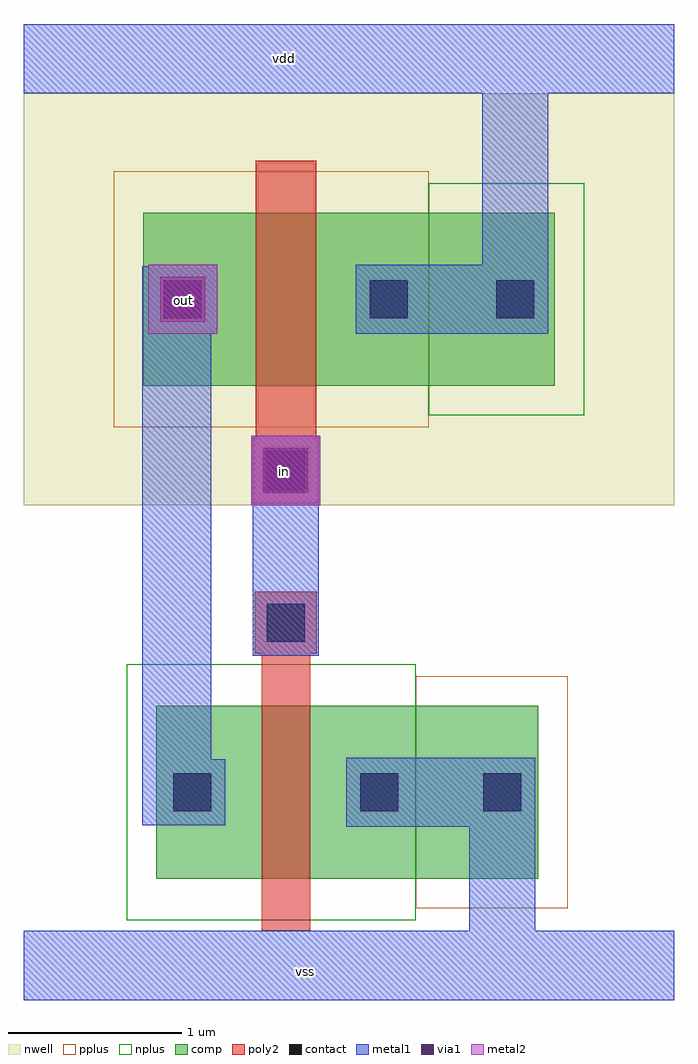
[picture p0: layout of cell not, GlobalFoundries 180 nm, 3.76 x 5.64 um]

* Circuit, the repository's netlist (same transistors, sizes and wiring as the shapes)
* Extracted by KLayout with GF180MCU LVS runset on : 27/08/2025 16:44

.SUBCKT not
M$1 vdd out in vdd pfet_03v3 L=0.35U W=1U AS=0.65P AD=0.65P PS=3.3U PD=3.3U
M$2 vss out in vss nfet_03v3 L=0.28U W=1U AS=0.61P AD=0.61P PS=3.22U PD=3.22U
.ENDS not

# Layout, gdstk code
import gdstk
lib = gdstk.Library(unit=1e-6, precision=5e-09)
def R(c, l, rs):  # rectangles x0, y0, x1, y1
    for r in rs: c.add(gdstk.rectangle(r[:2], r[2:], *l))
def P(c, l, *ps):  # polygons
    for p in ps: c.add(gdstk.Polygon(p, *l))
nwell = (21, 0)
comp = (22, 0)
poly2 = (30, 0)
pplus = (31, 0)
nplus = (32, 0)
contact = (33, 0)
metal1 = (34, 0)
via1 = (35, 0)
metal2 = (36, 0)

pfet = lib.new_cell('pfet')
R(pfet, nwell, [(-1.15,-0.69,2.61,1.69)])
R(pfet, comp, [(-0.46,0,0,1), (0,0,0.73,1), (0.73,0,1.19,1), (1.19,0,1.92,1)])
R(pfet, poly2, [(0.175,-0.68,0.555,-0.3), (0.19,-0.3,0.54,1.3)])
R(pfet, pplus, [(-0.63,-0.24,1.19,1.24)])
R(pfet, nplus, [(1.19,-0.17,2.09,1.17)])
R(pfet, contact, [(0.255,-0.6,0.475,-0.38), (-0.34,0.39,-0.12,0.61), (0.85,0.39,1.07,0.61), (1.58,0.39,1.8,0.61)])
R(pfet, metal1, [(0.175,-0.68,0.555,-0.3), (-0.42,0.31,-0.04,0.69), (0.77,0.31,1.15,0.69), (1.5,0.31,1.88,0.69)])

nfet = lib.new_cell('nfet')
R(nfet, comp, [(-0.42,0,0,1), (0,0,0.66,1), (0.66,0,1.08,1), (1.08,0,1.79,1)])
R(nfet, poly2, [(0.19,-0.3,0.47,1.3), (0.15,1.3,0.51,1.66)])
R(nfet, pplus, [(1.08,-0.17,1.96,1.17)])
R(nfet, nplus, [(-0.59,-0.24,1.08,1.24)])
R(nfet, contact, [(-0.32,0.39,-0.1,0.61), (0.76,0.39,0.98,0.61), (1.47,0.39,1.69,0.61), (0.22,1.37,0.44,1.59)])
R(nfet, metal1, [(-0.4,0.31,-0.02,0.69), (0.68,0.31,1.06,0.69), (1.39,0.31,1.77,0.69), (0.14,1.29,0.52,1.67)])

via_dev = lib.new_cell('via_dev')

via_dev_1 = lib.new_cell('via_dev$1')
R(via_dev_1, metal1, [(0,0,0.4,0.4)])
R(via_dev_1, via1, [(0.07,0.07,0.33,0.33)])
R(via_dev_1, metal2, [(0,0,0.4,0.4)])

not_ = lib.new_cell('not')
R(not_, metal1, [(0,-1.97,0.38,-1.47)])
P(not_, metal1, [(-0.64,-3.33),(-0.64,-1.92),(-0.64,-1.52),(-0.64,-0.1),(-0.24,-0.1),(-0.24,-3.33)],
  [(0.595,-0.49),(0.595,-0.09),(1.325,-0.09),(1.325,0.9),(-1.325,0.9),(-1.325,1.3),(2.435,1.3),(2.435,0.9),(1.705,0.9),(1.705,-0.49)],
  [(-1.325,-4.34),(-1.325,-3.94),(1.25,-3.94),(1.25,-3.34),(0.54,-3.34),(0.54,-2.94),(1.63,-2.94),(1.63,-3.94),(2.435,-3.94),(2.435,-4.34)])
not_.add(gdstk.Reference(pfet, (-0.175,-0.79)))
not_.add(gdstk.Reference(nfet, (-0.14,-3.64)))
not_.add(gdstk.Reference(via_dev, (-0.94,-1.74)))
not_.add(gdstk.Reference(via_dev_1, (-0.605,-0.49)))
not_.add(gdstk.Reference(via_dev_1, (-0.01,-1.48)))
not_.add(gdstk.Label('vss', (0.305,-4.175), layer=34, texttype=10))
not_.add(gdstk.Label('vdd', (0.18,1.1), layer=34, texttype=10))
not_.add(gdstk.Label('in', (0.18,-1.285), layer=36, texttype=10))
not_.add(gdstk.Label('out', (-0.4,-0.3), layer=36, texttype=10))

lib.write_gds('not.gds')
